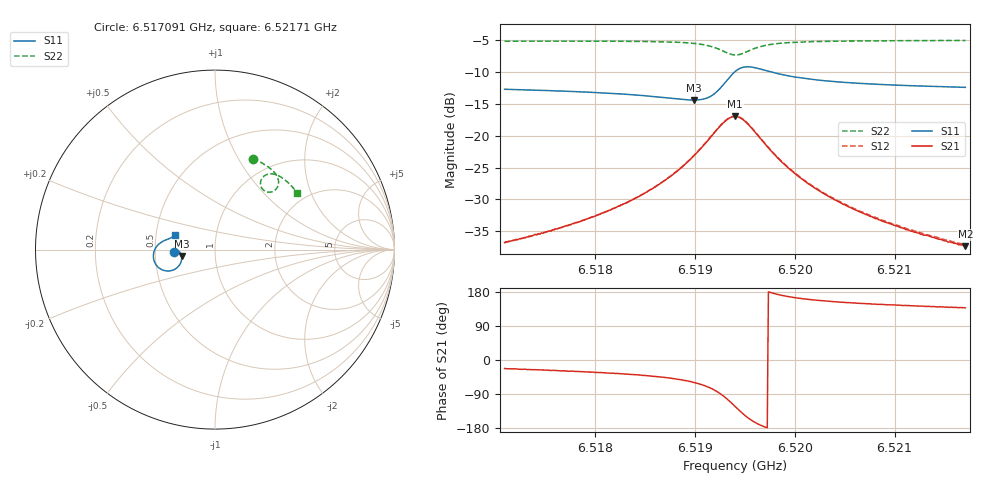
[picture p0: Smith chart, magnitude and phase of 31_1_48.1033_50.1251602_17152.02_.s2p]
#  HZ  S  RI  R  50.00
! Rohde & Schwarz Vector Network Analyzer
! Rohde-Schwarz,ZNB20-2Port,1311601062101988,3.16
! Created: UTC 12/23/2023, 3:37:39 AM
! freq[Hz]  re:S11  im:S11  re:S21  im:S21  re:S12  im:S12  re:S22  im:S22
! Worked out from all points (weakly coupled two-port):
!   401 points, 6.517091 GHz to 6.52171 GHz, reference 50 ohm
!   highest |S21| = -17.00 dB at 6.519401 GHz (marker M1); lowest = -37.3 dB at 6.52171 GHz (marker M2)
!   lowest |S11| = -14.4 dB at 6.518985 GHz (marker M3), VSWR 1.47, Z = 34.2 - j2.48 ohm
!   |S11| at or under -10 dB: start of sweep to 6.519399 GHz; 6.519755 GHz to end of sweep
!   |S22| runs from -7.4 to -5.1 dB; largest |S21 - S12| = 0.0043
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6.5170913e9  -0.23 -0.0154  0.0134 -0.0055  0.0136 -0.00509  0.2105 0.5067
6.517403e9  -0.2266 -0.0109  0.0152 -0.0073  0.0153 -0.00671  0.2335 0.4969
6.5178649e9  -0.2199 -0.00545  0.0186 -0.011  0.0187 -0.0104  0.2675 0.4794
6.5182344e9  -0.2125 -0.00382  0.0227 -0.0164  0.0232 -0.0157  0.2952 0.4618
6.5184538e9  -0.2064 -0.00521  0.0261 -0.0217  0.0267 -0.0211  0.312 0.4488
6.5186386e9  -0.2002 -0.00906  0.0296 -0.0289  0.0307 -0.0282  0.3267 0.4352
6.5188233e9  -0.1928 -0.0181  0.0335 -0.0408  0.0351 -0.0399  0.341 0.4169
6.518985e9  -0.1865 -0.0349  0.0357 -0.0589  0.0377 -0.0583  0.3517 0.3939
6.5190889e9  -0.186 -0.054  0.0329 -0.0776  0.0355 -0.0771  0.3543 0.373
6.5191813e9  -0.1937 -0.0788  0.0221 -0.1001  0.0252 -0.1002  0.3487 0.3495
6.5193083e9  -0.2377 -0.1156  -0.0228 -0.129  -0.0192 -0.1306  0.3143 0.3211
6.5194007e9  -0.2969 -0.1114  -0.0754 -0.1193  -0.0727 -0.1224  0.2733 0.3293
6.5194469e9  -0.3223 -0.0923  -0.0961 -0.0997  -0.094 -0.1032  0.2589 0.3459
6.5195046e9  -0.3401 -0.06  -0.1083 -0.0697  -0.1071 -0.0733  0.2533 0.3708
6.5196086e9  -0.339 -0.0088  -0.1016 -0.0258  -0.1018 -0.029  0.268 0.4047
6.5197125e9  -0.3221 0.0211  -0.0839 -0.0029  -0.0845 -0.00546  0.2911 0.419
6.5199319e9  -0.2906 0.0461  -0.0547 0.0121  -0.0557 0.0107  0.3306 0.4204
6.5201744e9  -0.2699 0.0555  -0.0373 0.0144  -0.0381 0.0134  0.3593 0.409
6.5205092e9  -0.2533 0.0618  -0.025 0.0135  -0.0259 0.013  0.3877 0.3899
6.520948e9  -0.2402 0.0683  -0.017 0.0114  -0.0174 0.0113  0.4167 0.3638
6.5212829e9  -0.2329 0.0728  -0.0132 0.0103  -0.0137 0.0101  0.4356 0.3437
6.5217102e9  -0.2254 0.0787  -0.01 0.00919  -0.0106 0.00908  0.4569 0.3171
